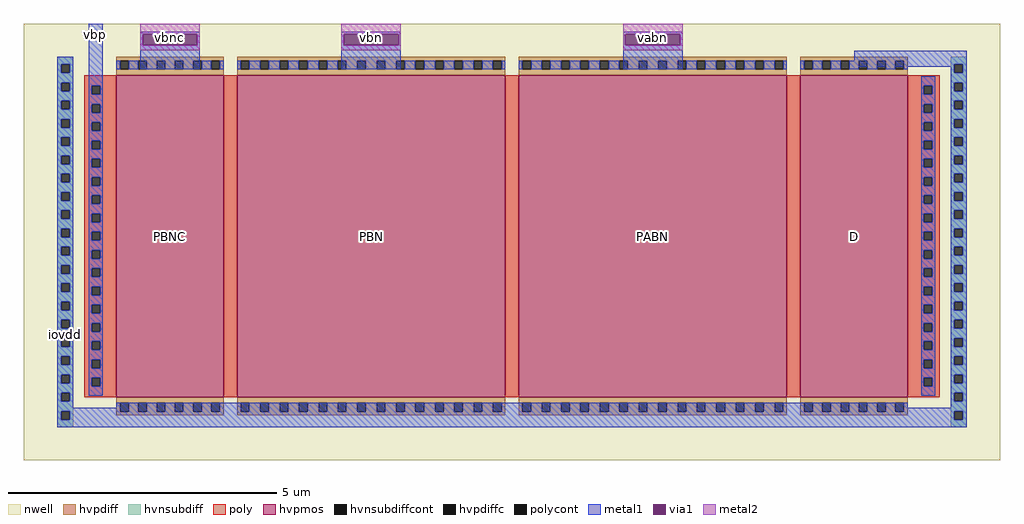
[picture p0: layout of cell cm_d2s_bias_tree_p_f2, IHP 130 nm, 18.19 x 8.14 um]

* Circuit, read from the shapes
.subckt cm_d2s_bias_tree_p_f2 vbnc vbn vabn iovdd vbp
XM1 vbnc vbp iovdd iovdd sg13_hv_pmos w=2u l=6u
XM2 vbn vbp iovdd iovdd sg13_hv_pmos w=5u l=6u
XM3 vabn vbp iovdd iovdd sg13_hv_pmos w=5u l=6u
XM4 iovdd vbp iovdd iovdd sg13_hv_pmos w=2u l=6u
.ends

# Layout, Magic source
magic
tech ihp-sg13cmos5l
magscale 1 2
<< nwell >>
rect 0 0 3638 1628
<< hvnsubdiff >>
rect 124 1476 184 1504
rect 124 1444 138 1476
rect 170 1444 184 1476
rect 124 1408 184 1444
rect 3454 1476 3514 1504
rect 3454 1444 3468 1476
rect 3500 1444 3514 1476
rect 124 1376 138 1408
rect 170 1376 184 1408
rect 124 1340 184 1376
rect 124 1308 138 1340
rect 170 1308 184 1340
rect 124 1272 184 1308
rect 124 1240 138 1272
rect 170 1240 184 1272
rect 124 1204 184 1240
rect 124 1172 138 1204
rect 170 1172 184 1204
rect 124 1136 184 1172
rect 124 1104 138 1136
rect 170 1104 184 1136
rect 124 1068 184 1104
rect 124 1036 138 1068
rect 170 1036 184 1068
rect 124 1000 184 1036
rect 124 968 138 1000
rect 170 968 184 1000
rect 124 932 184 968
rect 124 900 138 932
rect 170 900 184 932
rect 124 864 184 900
rect 124 832 138 864
rect 170 832 184 864
rect 124 796 184 832
rect 124 764 138 796
rect 170 764 184 796
rect 124 728 184 764
rect 124 696 138 728
rect 170 696 184 728
rect 124 660 184 696
rect 124 628 138 660
rect 170 628 184 660
rect 124 592 184 628
rect 124 560 138 592
rect 170 560 184 592
rect 124 524 184 560
rect 124 492 138 524
rect 170 492 184 524
rect 124 456 184 492
rect 124 424 138 456
rect 170 424 184 456
rect 124 388 184 424
rect 124 356 138 388
rect 170 356 184 388
rect 124 320 184 356
rect 124 288 138 320
rect 170 288 184 320
rect 124 252 184 288
rect 124 220 138 252
rect 170 220 184 252
rect 3454 1408 3514 1444
rect 3454 1376 3468 1408
rect 3500 1376 3514 1408
rect 3454 1340 3514 1376
rect 3454 1308 3468 1340
rect 3500 1308 3514 1340
rect 3454 1272 3514 1308
rect 3454 1240 3468 1272
rect 3500 1240 3514 1272
rect 3454 1204 3514 1240
rect 3454 1172 3468 1204
rect 3500 1172 3514 1204
rect 3454 1136 3514 1172
rect 3454 1104 3468 1136
rect 3500 1104 3514 1136
rect 3454 1068 3514 1104
rect 3454 1036 3468 1068
rect 3500 1036 3514 1068
rect 3454 1000 3514 1036
rect 3454 968 3468 1000
rect 3500 968 3514 1000
rect 3454 932 3514 968
rect 3454 900 3468 932
rect 3500 900 3514 932
rect 3454 864 3514 900
rect 3454 832 3468 864
rect 3500 832 3514 864
rect 3454 796 3514 832
rect 3454 764 3468 796
rect 3500 764 3514 796
rect 3454 728 3514 764
rect 3454 696 3468 728
rect 3500 696 3514 728
rect 3454 660 3514 696
rect 3454 628 3468 660
rect 3500 628 3514 660
rect 3454 592 3514 628
rect 3454 560 3468 592
rect 3500 560 3514 592
rect 3454 524 3514 560
rect 3454 492 3468 524
rect 3500 492 3514 524
rect 3454 456 3514 492
rect 3454 424 3468 456
rect 3500 424 3514 456
rect 3454 388 3514 424
rect 3454 356 3468 388
rect 3500 356 3514 388
rect 3454 320 3514 356
rect 3454 288 3468 320
rect 3500 288 3514 320
rect 3454 252 3514 288
rect 124 184 184 220
rect 124 152 138 184
rect 170 152 184 184
rect 124 124 184 152
rect 3454 220 3468 252
rect 3500 220 3514 252
rect 3454 184 3514 220
rect 3454 152 3468 184
rect 3500 152 3514 184
rect 3454 124 3514 152
<< hvnsubdiffcont >>
rect 138 1444 170 1476
rect 3468 1444 3500 1476
rect 138 1376 170 1408
rect 138 1308 170 1340
rect 138 1240 170 1272
rect 138 1172 170 1204
rect 138 1104 170 1136
rect 138 1036 170 1068
rect 138 968 170 1000
rect 138 900 170 932
rect 138 832 170 864
rect 138 764 170 796
rect 138 696 170 728
rect 138 628 170 660
rect 138 560 170 592
rect 138 492 170 524
rect 138 424 170 456
rect 138 356 170 388
rect 138 288 170 320
rect 138 220 170 252
rect 3468 1376 3500 1408
rect 3468 1308 3500 1340
rect 3468 1240 3500 1272
rect 3468 1172 3500 1204
rect 3468 1104 3500 1136
rect 3468 1036 3500 1068
rect 3468 968 3500 1000
rect 3468 900 3500 932
rect 3468 832 3500 864
rect 3468 764 3500 796
rect 3468 696 3500 728
rect 3468 628 3500 660
rect 3468 560 3500 592
rect 3468 492 3500 524
rect 3468 424 3500 456
rect 3468 356 3500 388
rect 3468 288 3500 320
rect 138 152 170 184
rect 3468 220 3500 252
rect 3468 152 3500 184
<< poly >>
rect 224 1396 344 1436
rect 224 1364 252 1396
rect 284 1364 344 1396
rect 224 1328 344 1364
rect 224 1296 252 1328
rect 284 1296 344 1328
rect 224 1260 344 1296
rect 224 1228 252 1260
rect 284 1228 344 1260
rect 224 1192 344 1228
rect 224 1160 252 1192
rect 284 1160 344 1192
rect 224 1124 344 1160
rect 224 1092 252 1124
rect 284 1092 344 1124
rect 224 1056 344 1092
rect 224 1024 252 1056
rect 284 1024 344 1056
rect 224 988 344 1024
rect 224 956 252 988
rect 284 956 344 988
rect 224 920 344 956
rect 224 888 252 920
rect 284 888 344 920
rect 224 852 344 888
rect 224 820 252 852
rect 284 820 344 852
rect 224 784 344 820
rect 224 752 252 784
rect 284 752 344 784
rect 224 716 344 752
rect 224 684 252 716
rect 284 684 344 716
rect 224 648 344 684
rect 224 616 252 648
rect 284 616 344 648
rect 224 580 344 616
rect 224 548 252 580
rect 284 548 344 580
rect 224 512 344 548
rect 224 480 252 512
rect 284 480 344 512
rect 224 444 344 480
rect 224 412 252 444
rect 284 412 344 444
rect 224 376 344 412
rect 224 344 252 376
rect 284 344 344 376
rect 224 308 344 344
rect 224 276 252 308
rect 284 276 344 308
rect 224 236 344 276
rect 3294 1396 3414 1436
rect 3294 1364 3354 1396
rect 3386 1364 3414 1396
rect 3294 1328 3414 1364
rect 3294 1296 3354 1328
rect 3386 1296 3414 1328
rect 3294 1260 3414 1296
rect 3294 1228 3354 1260
rect 3386 1228 3414 1260
rect 3294 1192 3414 1228
rect 3294 1160 3354 1192
rect 3386 1160 3414 1192
rect 3294 1124 3414 1160
rect 3294 1092 3354 1124
rect 3386 1092 3414 1124
rect 3294 1056 3414 1092
rect 3294 1024 3354 1056
rect 3386 1024 3414 1056
rect 3294 988 3414 1024
rect 3294 956 3354 988
rect 3386 956 3414 988
rect 3294 920 3414 956
rect 3294 888 3354 920
rect 3386 888 3414 920
rect 3294 852 3414 888
rect 3294 820 3354 852
rect 3386 820 3414 852
rect 3294 784 3414 820
rect 3294 752 3354 784
rect 3386 752 3414 784
rect 3294 716 3414 752
rect 3294 684 3354 716
rect 3386 684 3414 716
rect 3294 648 3414 684
rect 3294 616 3354 648
rect 3386 616 3414 648
rect 3294 580 3414 616
rect 3294 548 3354 580
rect 3386 548 3414 580
rect 3294 512 3414 548
rect 3294 480 3354 512
rect 3386 480 3414 512
rect 3294 444 3414 480
rect 3294 412 3354 444
rect 3386 412 3414 444
rect 3294 376 3414 412
rect 3294 344 3354 376
rect 3386 344 3414 376
rect 3294 308 3414 344
rect 3294 276 3354 308
rect 3386 276 3414 308
rect 3294 236 3414 276
<< polycont >>
rect 252 1364 284 1396
rect 252 1296 284 1328
rect 252 1228 284 1260
rect 252 1160 284 1192
rect 252 1092 284 1124
rect 252 1024 284 1056
rect 252 956 284 988
rect 252 888 284 920
rect 252 820 284 852
rect 252 752 284 784
rect 252 684 284 716
rect 252 616 284 648
rect 252 548 284 580
rect 252 480 284 512
rect 252 412 284 444
rect 252 344 284 376
rect 252 276 284 308
rect 3354 1364 3386 1396
rect 3354 1296 3386 1328
rect 3354 1228 3386 1260
rect 3354 1160 3386 1192
rect 3354 1092 3386 1124
rect 3354 1024 3386 1056
rect 3354 956 3386 988
rect 3354 888 3386 920
rect 3354 820 3386 852
rect 3354 752 3386 784
rect 3354 684 3386 716
rect 3354 616 3386 648
rect 3354 548 3386 580
rect 3354 480 3386 512
rect 3354 412 3386 444
rect 3354 344 3386 376
rect 3354 276 3386 308
<< metal1 >>
rect 124 1476 184 1504
rect 124 1444 138 1476
rect 170 1444 184 1476
rect 124 1408 184 1444
rect 124 1376 138 1408
rect 170 1376 184 1408
rect 124 1340 184 1376
rect 124 1308 138 1340
rect 170 1308 184 1340
rect 124 1272 184 1308
rect 124 1240 138 1272
rect 170 1240 184 1272
rect 124 1204 184 1240
rect 124 1172 138 1204
rect 170 1172 184 1204
rect 124 1136 184 1172
rect 124 1104 138 1136
rect 170 1104 184 1136
rect 124 1068 184 1104
rect 124 1036 138 1068
rect 170 1036 184 1068
rect 124 1000 184 1036
rect 124 968 138 1000
rect 170 968 184 1000
rect 124 932 184 968
rect 124 900 138 932
rect 170 900 184 932
rect 124 864 184 900
rect 124 832 138 864
rect 170 832 184 864
rect 124 796 184 832
rect 124 764 138 796
rect 170 764 184 796
rect 124 728 184 764
rect 124 696 138 728
rect 170 696 184 728
rect 124 660 184 696
rect 124 628 138 660
rect 170 628 184 660
rect 124 592 184 628
rect 124 560 138 592
rect 170 560 184 592
rect 124 524 184 560
rect 124 492 138 524
rect 170 492 184 524
rect 124 456 184 492
rect 124 424 138 456
rect 170 424 184 456
rect 124 388 184 424
rect 124 356 138 388
rect 170 356 184 388
rect 124 320 184 356
rect 124 288 138 320
rect 170 288 184 320
rect 124 252 184 288
rect 124 220 138 252
rect 170 220 184 252
rect 242 1396 294 1628
rect 433 1588 655 1597
rect 433 1548 442 1588
rect 646 1548 655 1588
rect 433 1458 655 1548
rect 1183 1588 1405 1597
rect 1183 1548 1192 1588
rect 1396 1548 1405 1588
rect 1183 1458 1405 1548
rect 2233 1588 2455 1597
rect 2233 1548 2242 1588
rect 2446 1548 2455 1588
rect 2233 1458 2455 1548
rect 3094 1476 3514 1526
rect 3094 1468 3468 1476
rect 3454 1444 3468 1468
rect 3500 1444 3514 1476
rect 242 1364 252 1396
rect 284 1364 294 1396
rect 242 1328 294 1364
rect 242 1296 252 1328
rect 284 1296 294 1328
rect 242 1260 294 1296
rect 242 1228 252 1260
rect 284 1228 294 1260
rect 242 1192 294 1228
rect 242 1160 252 1192
rect 284 1160 294 1192
rect 242 1124 294 1160
rect 242 1092 252 1124
rect 284 1092 294 1124
rect 242 1056 294 1092
rect 242 1024 252 1056
rect 284 1024 294 1056
rect 242 988 294 1024
rect 242 956 252 988
rect 284 956 294 988
rect 242 920 294 956
rect 242 888 252 920
rect 284 888 294 920
rect 242 852 294 888
rect 242 820 252 852
rect 284 820 294 852
rect 242 784 294 820
rect 242 752 252 784
rect 284 752 294 784
rect 242 716 294 752
rect 242 684 252 716
rect 284 684 294 716
rect 242 648 294 684
rect 242 616 252 648
rect 284 616 294 648
rect 242 580 294 616
rect 242 548 252 580
rect 284 548 294 580
rect 242 512 294 548
rect 242 480 252 512
rect 284 480 294 512
rect 242 444 294 480
rect 242 412 252 444
rect 284 412 294 444
rect 242 376 294 412
rect 242 344 252 376
rect 284 344 294 376
rect 242 308 294 344
rect 242 276 252 308
rect 284 276 294 308
rect 242 240 294 276
rect 3344 1396 3396 1432
rect 3344 1364 3354 1396
rect 3386 1364 3396 1396
rect 3344 1328 3396 1364
rect 3344 1296 3354 1328
rect 3386 1296 3396 1328
rect 3344 1260 3396 1296
rect 3344 1228 3354 1260
rect 3386 1228 3396 1260
rect 3344 1192 3396 1228
rect 3344 1160 3354 1192
rect 3386 1160 3396 1192
rect 3344 1124 3396 1160
rect 3344 1092 3354 1124
rect 3386 1092 3396 1124
rect 3344 1056 3396 1092
rect 3344 1024 3354 1056
rect 3386 1024 3396 1056
rect 3344 988 3396 1024
rect 3344 956 3354 988
rect 3386 956 3396 988
rect 3344 920 3396 956
rect 3344 888 3354 920
rect 3386 888 3396 920
rect 3344 852 3396 888
rect 3344 820 3354 852
rect 3386 820 3396 852
rect 3344 784 3396 820
rect 3344 752 3354 784
rect 3386 752 3396 784
rect 3344 716 3396 752
rect 3344 684 3354 716
rect 3386 684 3396 716
rect 3344 648 3396 684
rect 3344 616 3354 648
rect 3386 616 3396 648
rect 3344 580 3396 616
rect 3344 548 3354 580
rect 3386 548 3396 580
rect 3344 512 3396 548
rect 3344 480 3354 512
rect 3386 480 3396 512
rect 3344 444 3396 480
rect 3344 412 3354 444
rect 3386 412 3396 444
rect 3344 376 3396 412
rect 3344 344 3354 376
rect 3386 344 3396 376
rect 3344 308 3396 344
rect 3344 276 3354 308
rect 3386 276 3396 308
rect 3344 240 3396 276
rect 3454 1408 3514 1444
rect 3454 1376 3468 1408
rect 3500 1376 3514 1408
rect 3454 1340 3514 1376
rect 3454 1308 3468 1340
rect 3500 1308 3514 1340
rect 3454 1272 3514 1308
rect 3454 1240 3468 1272
rect 3500 1240 3514 1272
rect 3454 1204 3514 1240
rect 3454 1172 3468 1204
rect 3500 1172 3514 1204
rect 3454 1136 3514 1172
rect 3454 1104 3468 1136
rect 3500 1104 3514 1136
rect 3454 1068 3514 1104
rect 3454 1036 3468 1068
rect 3500 1036 3514 1068
rect 3454 1000 3514 1036
rect 3454 968 3468 1000
rect 3500 968 3514 1000
rect 3454 932 3514 968
rect 3454 900 3468 932
rect 3500 900 3514 932
rect 3454 864 3514 900
rect 3454 832 3468 864
rect 3500 832 3514 864
rect 3454 796 3514 832
rect 3454 764 3468 796
rect 3500 764 3514 796
rect 3454 728 3514 764
rect 3454 696 3468 728
rect 3500 696 3514 728
rect 3454 660 3514 696
rect 3454 628 3468 660
rect 3500 628 3514 660
rect 3454 592 3514 628
rect 3454 560 3468 592
rect 3500 560 3514 592
rect 3454 524 3514 560
rect 3454 492 3468 524
rect 3500 492 3514 524
rect 3454 456 3514 492
rect 3454 424 3468 456
rect 3500 424 3514 456
rect 3454 388 3514 424
rect 3454 356 3468 388
rect 3500 356 3514 388
rect 3454 320 3514 356
rect 3454 288 3468 320
rect 3500 288 3514 320
rect 3454 252 3514 288
rect 124 196 184 220
rect 3454 220 3468 252
rect 3500 220 3514 252
rect 344 196 3294 214
rect 3454 196 3514 220
rect 124 184 3514 196
rect 124 152 138 184
rect 170 152 3468 184
rect 3500 152 3514 184
rect 124 124 3514 152
<< via1 >>
rect 442 1548 646 1588
rect 1192 1548 1396 1588
rect 2242 1548 2446 1588
<< metal2 >>
rect 433 1588 655 1628
rect 433 1548 442 1588
rect 646 1548 655 1588
rect 433 1528 655 1548
rect 1183 1588 1405 1628
rect 1183 1548 1192 1588
rect 1396 1548 1405 1588
rect 1183 1528 1405 1548
rect 2233 1588 2455 1628
rect 2233 1548 2242 1588
rect 2446 1548 2455 1588
rect 2233 1528 2455 1548
use cm_d2s_pmosHV_w2_l6  cm_d2s_pmosHV_w2_l6_0
transform 0 1 2894 1 0 168
box -124 -124 1460 524
use cm_d2s_pmosHV_w2_l6  cm_d2s_pmosHV_w2_l6_1
transform 0 -1 744 1 0 168
box -124 -124 1460 524
use cm_d2s_pmosHV_w5_l6  cm_d2s_pmosHV_w5_l6_0
transform 0 1 1844 1 0 168
box -124 -124 1460 1124
use cm_d2s_pmosHV_w5_l6  cm_d2s_pmosHV_w5_l6_1
transform 0 -1 1794 1 0 168
box -124 -124 1460 1124
<< labels >>
rlabel comment s 544 836 544 836 4 PBNC
rlabel comment s 1294 836 1294 836 4 PBN
rlabel comment s 2344 836 2344 836 4 PABN
rlabel comment s 3094 836 3094 836 4 D
rlabel metal2 s 433 1528 655 1628 4 vbnc
port 2 nsew
rlabel metal2 s 1183 1528 1405 1628 4 vbn
port 3 nsew
rlabel metal2 s 2233 1528 2455 1628 4 vabn
port 4 nsew
rlabel metal1 s 124 268 184 668 4 iovdd
port 5 nsew
rlabel metal1 s 242 1548 294 1628 4 vbp
port 6 nsew
<< properties >>
string GDS_END 143592
string GDS_FILE custom_io/gds/sg13cmos5l_IOPadDiff2Single.uniq.gds
string GDS_START 136068
<< end >>

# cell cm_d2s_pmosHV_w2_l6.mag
magic
tech ihp-sg13cmos5l
<< nwell >>
rect -62 -62 730 262
<< hvpmos >>
rect 34 0 634 200
<< hvpdiff >>
rect 0 193 34 200
rect 0 177 7 193
rect 23 177 34 193
rect 0 159 34 177
rect 0 143 7 159
rect 23 143 34 159
rect 0 125 34 143
rect 0 109 7 125
rect 23 109 34 125
rect 0 91 34 109
rect 0 75 7 91
rect 23 75 34 91
rect 0 57 34 75
rect 0 41 7 57
rect 23 41 34 57
rect 0 23 34 41
rect 0 7 7 23
rect 23 7 34 23
rect 0 0 34 7
rect 634 193 668 200
rect 634 177 645 193
rect 661 177 668 193
rect 634 159 668 177
rect 634 143 645 159
rect 661 143 668 159
rect 634 125 668 143
rect 634 109 645 125
rect 661 109 668 125
rect 634 91 668 109
rect 634 75 645 91
rect 661 75 668 91
rect 634 57 668 75
rect 634 41 645 57
rect 661 41 668 57
rect 634 23 668 41
rect 634 7 645 23
rect 661 7 668 23
rect 634 0 668 7
<< hvpdiffc >>
rect 7 177 23 193
rect 7 143 23 159
rect 7 109 23 125
rect 7 75 23 91
rect 7 41 23 57
rect 7 7 23 23
rect 645 177 661 193
rect 645 143 661 159
rect 645 109 661 125
rect 645 75 661 91
rect 645 41 661 57
rect 645 7 661 23
<< poly >>
rect 34 200 634 218
rect 34 -18 634 0
<< metal1 >>
rect 7 193 23 200
rect 7 159 23 177
rect 7 125 23 143
rect 7 91 23 109
rect 7 57 23 75
rect 7 23 23 41
rect 7 0 23 7
rect 645 193 661 200
rect 645 159 661 177
rect 645 125 661 143
rect 645 91 661 109
rect 645 57 661 75
rect 645 23 661 41
rect 645 0 661 7
<< labels >>
flabel comment s 334 100 334 100 0 FreeSans 100 90 0 0 pmosHV
<< properties >>
string GDS_END 32966
string GDS_FILE custom_io/gds/sg13cmos5l_IOPadDiff2Single.uniq.gds
string GDS_START 31220
<< end >>

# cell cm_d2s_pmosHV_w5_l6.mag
magic
tech ihp-sg13cmos5l
magscale 1 2
<< nwell >>
rect -124 -124 1460 1124
<< hvpmos >>
rect 68 0 1268 1000
<< hvpdiff >>
rect 0 986 68 1000
rect 0 954 14 986
rect 46 954 68 986
rect 0 913 68 954
rect 0 881 14 913
rect 46 881 68 913
rect 0 841 68 881
rect 0 809 14 841
rect 46 809 68 841
rect 0 769 68 809
rect 0 737 14 769
rect 46 737 68 769
rect 0 696 68 737
rect 0 664 14 696
rect 46 664 68 696
rect 0 624 68 664
rect 0 592 14 624
rect 46 592 68 624
rect 0 552 68 592
rect 0 520 14 552
rect 46 520 68 552
rect 0 479 68 520
rect 0 447 14 479
rect 46 447 68 479
rect 0 407 68 447
rect 0 375 14 407
rect 46 375 68 407
rect 0 335 68 375
rect 0 303 14 335
rect 46 303 68 335
rect 0 262 68 303
rect 0 230 14 262
rect 46 230 68 262
rect 0 190 68 230
rect 0 158 14 190
rect 46 158 68 190
rect 0 118 68 158
rect 0 86 14 118
rect 46 86 68 118
rect 0 46 68 86
rect 0 14 14 46
rect 46 14 68 46
rect 0 0 68 14
rect 1268 986 1336 1000
rect 1268 954 1290 986
rect 1322 954 1336 986
rect 1268 913 1336 954
rect 1268 881 1290 913
rect 1322 881 1336 913
rect 1268 841 1336 881
rect 1268 809 1290 841
rect 1322 809 1336 841
rect 1268 769 1336 809
rect 1268 737 1290 769
rect 1322 737 1336 769
rect 1268 696 1336 737
rect 1268 664 1290 696
rect 1322 664 1336 696
rect 1268 624 1336 664
rect 1268 592 1290 624
rect 1322 592 1336 624
rect 1268 552 1336 592
rect 1268 520 1290 552
rect 1322 520 1336 552
rect 1268 479 1336 520
rect 1268 447 1290 479
rect 1322 447 1336 479
rect 1268 407 1336 447
rect 1268 375 1290 407
rect 1322 375 1336 407
rect 1268 335 1336 375
rect 1268 303 1290 335
rect 1322 303 1336 335
rect 1268 262 1336 303
rect 1268 230 1290 262
rect 1322 230 1336 262
rect 1268 190 1336 230
rect 1268 158 1290 190
rect 1322 158 1336 190
rect 1268 118 1336 158
rect 1268 86 1290 118
rect 1322 86 1336 118
rect 1268 46 1336 86
rect 1268 14 1290 46
rect 1322 14 1336 46
rect 1268 0 1336 14
<< hvpdiffc >>
rect 14 954 46 986
rect 14 881 46 913
rect 14 809 46 841
rect 14 737 46 769
rect 14 664 46 696
rect 14 592 46 624
rect 14 520 46 552
rect 14 447 46 479
rect 14 375 46 407
rect 14 303 46 335
rect 14 230 46 262
rect 14 158 46 190
rect 14 86 46 118
rect 14 14 46 46
rect 1290 954 1322 986
rect 1290 881 1322 913
rect 1290 809 1322 841
rect 1290 737 1322 769
rect 1290 664 1322 696
rect 1290 592 1322 624
rect 1290 520 1322 552
rect 1290 447 1322 479
rect 1290 375 1322 407
rect 1290 303 1322 335
rect 1290 230 1322 262
rect 1290 158 1322 190
rect 1290 86 1322 118
rect 1290 14 1322 46
<< poly >>
rect 68 1000 1268 1036
rect 68 -36 1268 0
<< metal1 >>
rect 14 986 46 1000
rect 14 913 46 954
rect 14 841 46 881
rect 14 769 46 809
rect 14 696 46 737
rect 14 624 46 664
rect 14 552 46 592
rect 14 479 46 520
rect 14 407 46 447
rect 14 335 46 375
rect 14 262 46 303
rect 14 190 46 230
rect 14 118 46 158
rect 14 46 46 86
rect 14 0 46 14
rect 1290 986 1322 1000
rect 1290 913 1322 954
rect 1290 841 1322 881
rect 1290 769 1322 809
rect 1290 696 1322 737
rect 1290 624 1322 664
rect 1290 552 1322 592
rect 1290 479 1322 520
rect 1290 407 1322 447
rect 1290 335 1322 375
rect 1290 262 1322 303
rect 1290 190 1322 230
rect 1290 118 1322 158
rect 1290 46 1322 86
rect 1290 0 1322 14
<< labels >>
flabel comment s 668 500 668 500 0 FreeSans 200 90 0 0 pmosHV
<< properties >>
string GDS_END 15004
string GDS_FILE custom_io/gds/sg13cmos5l_IOPadDiff2Single.uniq.gds
string GDS_START 12234
<< end >>
